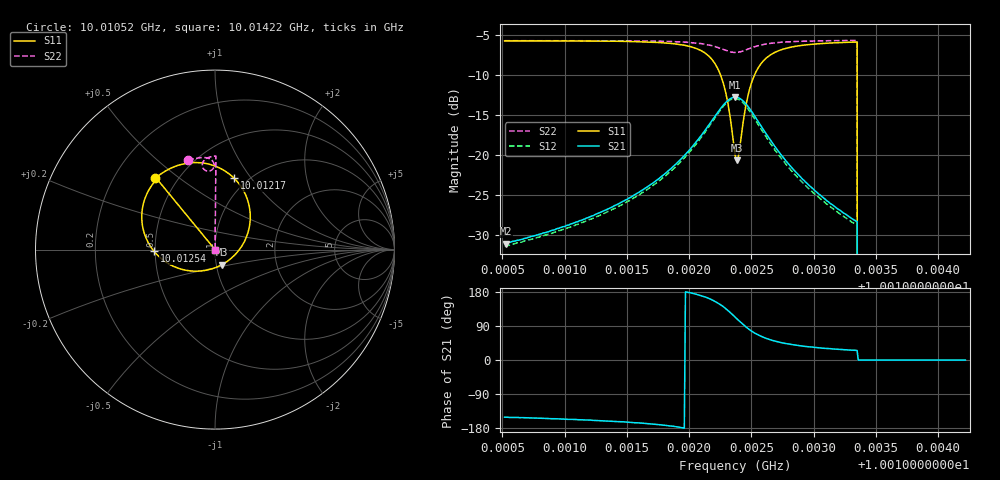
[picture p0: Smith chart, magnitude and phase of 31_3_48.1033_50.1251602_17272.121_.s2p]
#  HZ  S  RI  R  50.00
! Rohde & Schwarz Vector Network Analyzer
! Rohde-Schwarz,ZNB20-2Port,1311601062101988,3.16
! Created: UTC 12/23/2023, 3:37:40 AM
! freq[Hz]  re:S11  im:S11  re:S21  im:S21  re:S12  im:S12  re:S22  im:S22
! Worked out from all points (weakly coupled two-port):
!   401 points, 10.01052 GHz to 10.01422 GHz, reference 50 ohm
!   highest |S21| = -12.74 dB at 10.01237 GHz (marker M1); lowest = -31.1 dB at 10.01053 GHz (marker M2)
!   lowest |S11| = -20.7 dB at 10.01239 GHz (marker M3), VSWR 1.20, Z = 53.1 - j9.07 ohm
!   |S11| at or under -10 dB: 10.01225 GHz to 10.01253 GHz (272 kHz wide, 0.00272 % of centre); 10.01335 GHz to end of sweep
!   |S22| runs from - to -5.7 dB; largest |S21 - S12| = 0.01
!   S11 on the Smith chart (normalised r, x): 10.01052 GHz: 0.38, +0.41; 10.01217 GHz: 0.87, +0.83; 10.01254 GHz: 0.49, -0.01; 10.01422 GHz: 1.00, +0.00
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1.0010518e10  -0.3331 0.3967  -0.0244 -0.0136  -0.0228 -0.0143  -0.1487 0.4978
1.0010527e10  -0.3323 0.3974  -0.0244 -0.0135  -0.0228 -0.0144  -0.1482 0.498
1.0011138e10  -0.2759 0.4376  -0.0363 -0.0147  -0.0343 -0.0159  -0.1066 0.5085
1.0011471e10  -0.2275 0.4615  -0.0492 -0.0149  -0.0465 -0.0166  -0.0815 0.5123
1.0011758e10  -0.1574 0.4811  -0.0704 -0.0117  -0.0672 -0.0147  -0.0565 0.5127
1.0012017e10  -0.0288 0.4747  -0.1106 0.00605  -0.1074 -6.59e-05  -0.0279 0.5053
1.0012165e10  0.1066 0.3973  -0.1486 0.0494  -0.1474 0.0402  -0.00933 0.4872
1.001223e10  0.1712 0.3032  -0.1608 0.0909  -0.162 0.0808  -0.00494 0.4718
1.0012276e10  0.1963 0.1984  -0.1589 0.1311  -0.1617 0.1213  -0.00727 0.4578
1.0012313e10  0.1844 0.0964  -0.1432 0.1673  -0.1468 0.1592  -0.0146 0.4465
1.0012369e10  0.0873 -0.051  -0.0913 0.2118  -0.0969 0.2041  -0.0344 0.437
1.0012387e10  0.0371 -0.0847  -0.0693 0.2189  -0.0751 0.2116  -0.0418 0.4372
1.0012406e10  -0.0178 -0.1075  -0.0476 0.2216  -0.0522 0.215  -0.049 0.439
1.0012471e10  -0.2066 -0.103  0.0223 0.2016  0.0162 0.1952  -0.0667 0.4547
1.0012545e10  -0.3401 -0.00911  0.0626 0.1549  0.0557 0.1499  -0.0703 0.4758
1.0012628e10  -0.397 0.1009  0.0742 0.1097  0.0669 0.1072  -0.0638 0.4929
1.0012739e10  -0.4072 0.2046  0.0697 0.0722  0.0636 0.0713  -0.0512 0.5055
1.0012989e10  -0.3737 0.3226  0.0514 0.0347  0.0473 0.0351  -0.0251 0.5169
1.0013331e10  -0.326 0.3912  0.0352 0.0169  0.0327 0.0177  0.00386 0.5213
1.0013377e10  0 0  0 0  0 0  0 0
1.0013609e10  0 0  0 0  0 0  0 0
1.0014219e10  0 0  0 0  0 0  0 0
